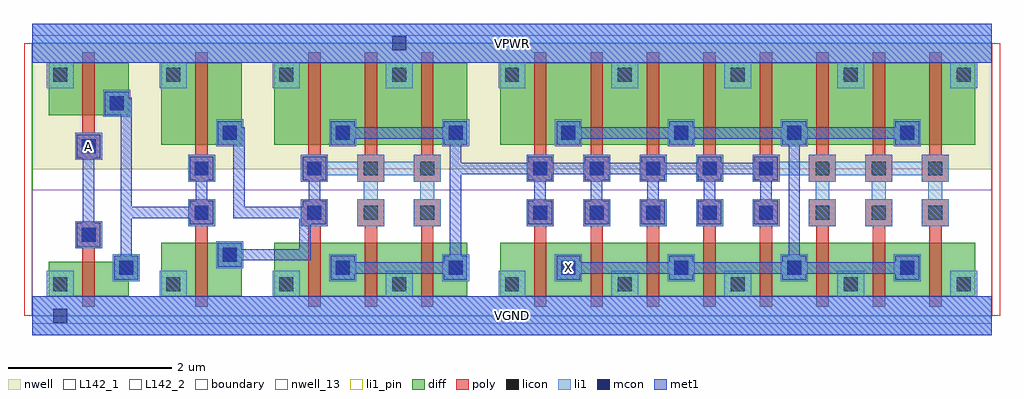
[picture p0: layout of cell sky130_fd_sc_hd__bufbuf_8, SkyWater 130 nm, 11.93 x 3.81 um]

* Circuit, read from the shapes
.subckt sky130_fd_sc_hd__bufbuf_8 A VGND VPWR X
XM1 n1 A VGND VSUBS sky130_fd_pr__nfet_01v8 w=0.42 l=0.15
XM2 n2 n1 VGND VSUBS sky130_fd_pr__nfet_01v8 w=0.65 l=0.15
XM3 n3 n2 VGND VSUBS sky130_fd_pr__nfet_01v8 w=0.65 l=0.15 m=3
XM4 X n3 VGND VSUBS sky130_fd_pr__nfet_01v8 w=0.65 l=0.15 m=8
XM5 n1 A VPWR n4 sky130_fd_pr__pfet_01v8 w=0.64 l=0.15
XM6 n2 n1 VPWR n4 sky130_fd_pr__pfet_01v8 w=1 l=0.15
XM7 n3 n2 VPWR n4 sky130_fd_pr__pfet_01v8 w=1 l=0.15 m=3
XM8 X n3 VPWR n4 sky130_fd_pr__pfet_01v8 w=1 l=0.15 m=8
.ends

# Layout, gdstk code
import gdstk
lib = gdstk.Library(unit=1e-6, precision=1e-09)
def R(c, l, rs):  # rectangles x0, y0, x1, y1
    for r in rs: c.add(gdstk.rectangle(r[:2], r[2:], *l))
def A(c, l, x, y, w, h, nx, ny, dx, dy):  # array of equal rectangles
    R(c, l, [(x+i*dx, y+j*dy, x+i*dx+w, y+j*dy+h) for i in range(nx) for j in range(ny)])
def P(c, l, *ps):  # polygons
    for p in ps: c.add(gdstk.Polygon(p, *l))
nwell_13 = (64, 13)
nwell = (64, 20)
diff = (65, 20)
poly = (66, 20)
licon = (66, 44)
li1_pin = (67, 16)
li1 = (67, 20)
mcon = (67, 44)
met1 = (68, 20)
L142_1 = (142, 1)
L142_2 = (142, 2)
boundary = (235, 4)

sky130_fd_sc_hd__bufbuf_ = lib.new_cell('sky130_fd_sc_hd__bufbuf_8')
R(sky130_fd_sc_hd__bufbuf_, nwell_13, [(0,0,11.73,1.54)])
R(sky130_fd_sc_hd__bufbuf_, nwell, [(0,1.79,11.73,3.33)])
A(sky130_fd_sc_hd__bufbuf_, diff, 6.135, 0.24, 0.69, 0.65, 7, 1, 0.69, 0)
A(sky130_fd_sc_hd__bufbuf_, diff, 6.135, 2.09, 0.69, 1, 7, 1, 0.69, 0)
R(sky130_fd_sc_hd__bufbuf_, diff, [(0.2,0.24,1.18,0.66), (0.2,0.24,0.615,0.66), (1.58,0.24,2.56,0.89), (1.58,0.24,1.995,0.89), (1.995,0.24,2.56,0.89), (2.96,0.24,5.32,0.89), (2.96,0.24,3.375,0.89), (3.375,0.24,4.065,0.89), (4.065,0.24,4.755,0.89), (4.755,0.24,5.32,0.89), (5.72,0.24,11.53,0.89), (5.72,0.24,6.135,0.89), (10.965,0.24,11.53,0.89), (1.58,2.09,2.56,3.09), (1.58,2.09,1.995,3.09), (1.995,2.09,2.56,3.09), (2.96,2.09,5.32,3.09), (2.96,2.09,3.375,3.09), (3.375,2.09,4.065,3.09), (4.065,2.09,4.755,3.09), (4.755,2.09,5.32,3.09), (5.72,2.09,11.53,3.09), (5.72,2.09,6.135,3.09), (10.965,2.09,11.53,3.09), (0.2,2.45,1.18,3.09), (0.2,2.45,0.615,3.09), (0.615,2.45,1.18,3.09)])
P(sky130_fd_sc_hd__bufbuf_, diff, [(0.615,0.24),(0.615,0.66),(1.005,0.66),(1.005,0.73),(1.295,0.73),(1.295,0.44),(1.18,0.44),(1.18,0.24)])
P(sky130_fd_sc_hd__bufbuf_, poly, [(3.375,0.11),(3.375,1.095),(3.285,1.095),(3.285,1.425),(3.615,1.425),(3.615,1.095),(3.525,1.095),(3.525,0.11)],
  [(4.065,0.11),(4.065,1.095),(3.975,1.095),(3.975,1.425),(4.305,1.425),(4.305,1.095),(4.215,1.095),(4.215,0.11)],
  [(4.755,0.11),(4.755,1.095),(4.665,1.095),(4.665,1.425),(4.995,1.425),(4.995,1.095),(4.905,1.095),(4.905,0.11)],
  [(3.285,1.635),(3.285,1.965),(3.375,1.965),(3.375,3.22),(3.525,3.22),(3.525,1.965),(3.615,1.965),(3.615,1.635)],
  [(3.975,1.635),(3.975,1.965),(4.065,1.965),(4.065,3.22),(4.215,3.22),(4.215,1.965),(4.305,1.965),(4.305,1.635)],
  [(4.665,1.635),(4.665,1.965),(4.755,1.965),(4.755,3.22),(4.905,3.22),(4.905,1.965),(4.995,1.965),(4.995,1.635)],
  [(6.135,0.11),(6.135,1.095),(6.045,1.095),(6.045,1.425),(6.375,1.425),(6.375,1.095),(6.285,1.095),(6.285,0.11)],
  [(6.825,0.11),(6.825,1.095),(6.735,1.095),(6.735,1.425),(7.065,1.425),(7.065,1.095),(6.975,1.095),(6.975,0.11)],
  [(7.515,0.11),(7.515,1.095),(7.425,1.095),(7.425,1.425),(7.755,1.425),(7.755,1.095),(7.665,1.095),(7.665,0.11)],
  [(8.205,0.11),(8.205,1.095),(8.115,1.095),(8.115,1.425),(8.445,1.425),(8.445,1.095),(8.355,1.095),(8.355,0.11)],
  [(8.895,0.11),(8.895,1.095),(8.805,1.095),(8.805,1.425),(9.135,1.425),(9.135,1.095),(9.045,1.095),(9.045,0.11)],
  [(9.585,0.11),(9.585,1.095),(9.495,1.095),(9.495,1.425),(9.825,1.425),(9.825,1.095),(9.735,1.095),(9.735,0.11)],
  [(10.275,0.11),(10.275,1.095),(10.185,1.095),(10.185,1.425),(10.515,1.425),(10.515,1.095),(10.425,1.095),(10.425,0.11)],
  [(10.965,0.11),(10.965,1.095),(10.875,1.095),(10.875,1.425),(11.205,1.425),(11.205,1.095),(11.115,1.095),(11.115,0.11)],
  [(6.045,1.635),(6.045,1.965),(6.135,1.965),(6.135,3.22),(6.285,3.22),(6.285,1.965),(6.375,1.965),(6.375,1.635)],
  [(6.735,1.635),(6.735,1.965),(6.825,1.965),(6.825,3.22),(6.975,3.22),(6.975,1.965),(7.065,1.965),(7.065,1.635)],
  [(7.425,1.635),(7.425,1.965),(7.515,1.965),(7.515,3.22),(7.665,3.22),(7.665,1.965),(7.755,1.965),(7.755,1.635)],
  [(8.115,1.635),(8.115,1.965),(8.205,1.965),(8.205,3.22),(8.355,3.22),(8.355,1.965),(8.445,1.965),(8.445,1.635)],
  [(8.805,1.635),(8.805,1.965),(8.895,1.965),(8.895,3.22),(9.045,3.22),(9.045,1.965),(9.135,1.965),(9.135,1.635)],
  [(9.495,1.635),(9.495,1.965),(9.585,1.965),(9.585,3.22),(9.735,3.22),(9.735,1.965),(9.825,1.965),(9.825,1.635)],
  [(10.185,1.635),(10.185,1.965),(10.275,1.965),(10.275,3.22),(10.425,3.22),(10.425,1.965),(10.515,1.965),(10.515,1.635)],
  [(10.875,1.635),(10.875,1.965),(10.965,1.965),(10.965,3.22),(11.115,3.22),(11.115,1.965),(11.205,1.965),(11.205,1.635)],
  [(0.615,0.11),(0.615,0.825),(0.525,0.825),(0.525,1.155),(0.855,1.155),(0.855,0.825),(0.765,0.825),(0.765,0.11)],
  [(0.525,1.905),(0.525,2.235),(0.615,2.235),(0.615,3.22),(0.765,3.22),(0.765,2.235),(0.855,2.235),(0.855,1.905)],
  [(1.995,0.11),(1.995,1.095),(1.905,1.095),(1.905,1.425),(2.235,1.425),(2.235,1.095),(2.145,1.095),(2.145,0.11)],
  [(1.905,1.635),(1.905,1.965),(1.995,1.965),(1.995,3.22),(2.145,3.22),(2.145,1.965),(2.235,1.965),(2.235,1.635)])
A(sky130_fd_sc_hd__bufbuf_, licon, 0.26, 0.3, 0.17, 0.17, 9, 2, 1.38, 2.56)
A(sky130_fd_sc_hd__bufbuf_, licon, 3.71, 0.5, 0.17, 0.17, 6, 1, 1.38, 0)
A(sky130_fd_sc_hd__bufbuf_, licon, 3.365, 1.175, 0.17, 0.17, 3, 2, 0.69, 0.54)
A(sky130_fd_sc_hd__bufbuf_, licon, 6.125, 1.175, 0.17, 0.17, 8, 2, 0.69, 0.54)
A(sky130_fd_sc_hd__bufbuf_, licon, 2.33, 2.15, 0.17, 0.17, 7, 1, 1.38, 0)
R(sky130_fd_sc_hd__bufbuf_, licon, [(1.065,0.5,1.235,0.67), (2.33,0.66,2.5,0.83), (0.605,0.905,0.775,1.075), (1.985,1.175,2.155,1.345), (1.985,1.715,2.155,1.885), (0.605,1.985,0.775,2.155), (0.95,2.51,1.12,2.68)])
R(sky130_fd_sc_hd__bufbuf_, li1_pin, [(0,-0.24,11.73,0.24), (6.39,0.42,6.72,0.75), (0.525,1.905,0.855,2.235), (0,3.09,11.73,3.57)])
A(sky130_fd_sc_hd__bufbuf_, li1, 3.63, 0.42, 0.33, 0.33, 6, 1, 1.38, 0)
A(sky130_fd_sc_hd__bufbuf_, li1, 6.045, 1.095, 0.33, 0.33, 5, 1, 0.69, 0)
A(sky130_fd_sc_hd__bufbuf_, li1, 6.045, 1.635, 0.33, 0.33, 4, 1, 0.69, 0)
A(sky130_fd_sc_hd__bufbuf_, li1, 2.25, 2.07, 0.33, 0.33, 7, 1, 1.38, 0)
R(sky130_fd_sc_hd__bufbuf_, li1, [(0.985,0.42,1.315,0.75), (2.25,0.58,2.58,0.91), (0.525,0.825,0.855,1.155), (1.905,1.095,2.235,1.425), (3.285,1.095,3.615,1.425), (1.905,1.635,2.235,1.965), (0.525,1.905,0.855,2.235), (0.87,2.43,1.2,2.76)])
P(sky130_fd_sc_hd__bufbuf_, li1, [(3.975,1.095),(3.975,1.425),(4.055,1.425),(4.055,1.635),(3.975,1.635),(3.975,1.715),(3.615,1.715),(3.615,1.635),(3.285,1.635),(3.285,1.965),(3.615,1.965),(3.615,1.885),(3.975,1.885),(3.975,1.965),(4.305,1.965),(4.305,1.885),(4.665,1.885),(4.665,1.965),(4.995,1.965),(4.995,1.635),(4.915,1.635),(4.915,1.425),(4.995,1.425),(4.995,1.095),(4.665,1.095),(4.665,1.425),(4.745,1.425),(4.745,1.635),(4.665,1.635),(4.665,1.715),(4.305,1.715),(4.305,1.635),(4.225,1.635),(4.225,1.425),(4.305,1.425),(4.305,1.095)],
  [(0.18,2.78),(0.18,3.09),(0,3.09),(0,3.57),(11.73,3.57),(11.73,3.09),(11.55,3.09),(11.55,2.78),(11.22,2.78),(11.22,3.09),(10.17,3.09),(10.17,2.78),(9.84,2.78),(9.84,3.09),(8.79,3.09),(8.79,2.78),(8.46,2.78),(8.46,3.09),(7.41,3.09),(7.41,2.78),(7.08,2.78),(7.08,3.09),(6.03,3.09),(6.03,2.78),(5.7,2.78),(5.7,3.09),(4.65,3.09),(4.65,2.78),(4.32,2.78),(4.32,3.09),(3.27,3.09),(3.27,2.78),(2.94,2.78),(2.94,3.09),(1.89,3.09),(1.89,2.78),(1.56,2.78),(1.56,3.09),(0.51,3.09),(0.51,2.78)],
  [(9.495,1.095),(9.495,1.425),(9.575,1.425),(9.575,1.635),(9.495,1.635),(9.495,1.715),(9.135,1.715),(9.135,1.635),(8.805,1.635),(8.805,1.965),(9.135,1.965),(9.135,1.885),(9.495,1.885),(9.495,1.965),(9.825,1.965),(9.825,1.885),(10.185,1.885),(10.185,1.965),(10.515,1.965),(10.515,1.885),(10.875,1.885),(10.875,1.965),(11.205,1.965),(11.205,1.635),(11.125,1.635),(11.125,1.425),(11.205,1.425),(11.205,1.095),(10.875,1.095),(10.875,1.425),(10.955,1.425),(10.955,1.635),(10.875,1.635),(10.875,1.715),(10.515,1.715),(10.515,1.635),(10.435,1.635),(10.435,1.425),(10.515,1.425),(10.515,1.095),(10.185,1.095),(10.185,1.425),(10.265,1.425),(10.265,1.635),(10.185,1.635),(10.185,1.715),(9.825,1.715),(9.825,1.635),(9.745,1.635),(9.745,1.425),(9.825,1.425),(9.825,1.095)],
  [(0,-0.24),(0,0.24),(0.18,0.24),(0.18,0.55),(0.51,0.55),(0.51,0.24),(1.56,0.24),(1.56,0.55),(1.89,0.55),(1.89,0.24),(2.94,0.24),(2.94,0.55),(3.27,0.55),(3.27,0.24),(4.32,0.24),(4.32,0.55),(4.65,0.55),(4.65,0.24),(5.7,0.24),(5.7,0.55),(6.03,0.55),(6.03,0.24),(7.08,0.24),(7.08,0.55),(7.41,0.55),(7.41,0.24),(8.46,0.24),(8.46,0.55),(8.79,0.55),(8.79,0.24),(9.84,0.24),(9.84,0.55),(10.17,0.55),(10.17,0.24),(11.22,0.24),(11.22,0.55),(11.55,0.55),(11.55,0.24),(11.73,0.24),(11.73,-0.24)])
A(sky130_fd_sc_hd__bufbuf_, mcon, 3.71, 0.5, 0.17, 0.17, 6, 1, 1.38, 0)
A(sky130_fd_sc_hd__bufbuf_, mcon, 6.125, 1.175, 0.17, 0.17, 5, 2, 0.69, 0.54)
A(sky130_fd_sc_hd__bufbuf_, mcon, 2.33, 2.15, 0.17, 0.17, 7, 1, 1.38, 0)
R(sky130_fd_sc_hd__bufbuf_, mcon, [(0.26,-0.085,0.43,0.085), (1.065,0.5,1.235,0.67), (2.33,0.66,2.5,0.83), (0.605,0.905,0.775,1.075), (1.985,1.175,2.155,1.345), (3.365,1.175,3.535,1.345), (1.985,1.715,2.155,1.885), (3.365,1.715,3.535,1.885), (0.605,1.985,0.775,2.155), (0.95,2.51,1.12,2.68), (4.4,3.245,4.57,3.415)])
R(sky130_fd_sc_hd__bufbuf_, met1, [(0,-0.24,11.73,0.24), (0,3.09,11.73,3.57)])
P(sky130_fd_sc_hd__bufbuf_, met1, [(2.27,0.6),(2.27,0.89),(2.56,0.89),(2.56,0.815),(3.265,0.815),(3.265,1.19),(2.46,1.19),(2.46,2.09),(2.27,2.09),(2.27,2.38),(2.56,2.38),(2.56,2.305),(2.6,2.305),(2.6,1.33),(3.305,1.33),(3.305,1.405),(3.38,1.405),(3.38,1.655),(3.305,1.655),(3.305,1.945),(3.595,1.945),(3.595,1.655),(3.52,1.655),(3.52,1.405),(3.595,1.405),(3.595,1.115),(3.405,1.115),(3.405,0.675),(2.56,0.675),(2.56,0.6)],
  [(3.65,0.44),(3.65,0.73),(3.94,0.73),(3.94,0.655),(5.03,0.655),(5.03,0.73),(5.105,0.73),(5.105,2.09),(5.03,2.09),(5.03,2.165),(3.94,2.165),(3.94,2.09),(3.65,2.09),(3.65,2.38),(3.94,2.38),(3.94,2.305),(5.03,2.305),(5.03,2.38),(5.32,2.38),(5.32,2.09),(5.245,2.09),(5.245,1.87),(6.065,1.87),(6.065,1.945),(6.355,1.945),(6.355,1.87),(6.755,1.87),(6.755,1.945),(7.045,1.945),(7.045,1.87),(7.445,1.87),(7.445,1.945),(7.735,1.945),(7.735,1.87),(8.135,1.87),(8.135,1.945),(8.425,1.945),(8.425,1.87),(8.825,1.87),(8.825,1.945),(9.115,1.945),(9.115,1.655),(9.04,1.655),(9.04,1.405),(9.115,1.405),(9.115,1.115),(8.825,1.115),(8.825,1.405),(8.9,1.405),(8.9,1.655),(8.825,1.655),(8.825,1.73),(8.425,1.73),(8.425,1.655),(8.35,1.655),(8.35,1.405),(8.425,1.405),(8.425,1.115),(8.135,1.115),(8.135,1.405),(8.21,1.405),(8.21,1.655),(8.135,1.655),(8.135,1.73),(7.735,1.73),(7.735,1.655),(7.66,1.655),(7.66,1.405),(7.735,1.405),(7.735,1.115),(7.445,1.115),(7.445,1.405),(7.52,1.405),(7.52,1.655),(7.445,1.655),(7.445,1.73),(7.045,1.73),(7.045,1.655),(6.97,1.655),(6.97,1.405),(7.045,1.405),(7.045,1.115),(6.755,1.115),(6.755,1.405),(6.83,1.405),(6.83,1.655),(6.755,1.655),(6.755,1.73),(6.355,1.73),(6.355,1.655),(6.28,1.655),(6.28,1.405),(6.355,1.405),(6.355,1.115),(6.065,1.115),(6.065,1.405),(6.14,1.405),(6.14,1.655),(6.065,1.655),(6.065,1.73),(5.245,1.73),(5.245,0.73),(5.32,0.73),(5.32,0.44),(5.03,0.44),(5.03,0.515),(3.94,0.515),(3.94,0.44)],
  [(0.545,0.845),(0.545,1.135),(0.62,1.135),(0.62,1.925),(0.545,1.925),(0.545,2.215),(0.835,2.215),(0.835,1.925),(0.76,1.925),(0.76,1.135),(0.835,1.135),(0.835,0.845)],
  [(1.005,0.44),(1.005,0.73),(1.08,0.73),(1.08,2.45),(0.89,2.45),(0.89,2.74),(1.18,2.74),(1.18,2.665),(1.22,2.665),(1.22,1.33),(1.925,1.33),(1.925,1.405),(2,1.405),(2,1.655),(1.925,1.655),(1.925,1.945),(2.215,1.945),(2.215,1.655),(2.14,1.655),(2.14,1.405),(2.215,1.405),(2.215,1.115),(1.925,1.115),(1.925,1.19),(1.22,1.19),(1.22,0.73),(1.295,0.73),(1.295,0.44)],
  [(6.41,0.44),(6.41,0.73),(6.7,0.73),(6.7,0.655),(7.79,0.655),(7.79,0.73),(8.08,0.73),(8.08,0.655),(9.17,0.655),(9.17,0.73),(9.245,0.73),(9.245,2.09),(9.17,2.09),(9.17,2.165),(8.08,2.165),(8.08,2.09),(7.79,2.09),(7.79,2.165),(6.7,2.165),(6.7,2.09),(6.41,2.09),(6.41,2.38),(6.7,2.38),(6.7,2.305),(7.79,2.305),(7.79,2.38),(8.08,2.38),(8.08,2.305),(9.17,2.305),(9.17,2.38),(9.46,2.38),(9.46,2.305),(10.55,2.305),(10.55,2.38),(10.84,2.38),(10.84,2.09),(10.55,2.09),(10.55,2.165),(9.46,2.165),(9.46,2.09),(9.385,2.09),(9.385,0.73),(9.46,0.73),(9.46,0.655),(10.55,0.655),(10.55,0.73),(10.84,0.73),(10.84,0.44),(10.55,0.44),(10.55,0.515),(9.46,0.515),(9.46,0.44),(9.17,0.44),(9.17,0.515),(8.08,0.515),(8.08,0.44),(7.79,0.44),(7.79,0.515),(6.7,0.515),(6.7,0.44)])
R(sky130_fd_sc_hd__bufbuf_, L142_1, [(0,-0.1,11.73,0), (0,3.33,11.73,3.43)])
R(sky130_fd_sc_hd__bufbuf_, L142_2, [(-0.1,0,0,3.33), (11.73,0,11.83,3.33)])
R(sky130_fd_sc_hd__bufbuf_, boundary, [(0,0,11.73,3.33)])
sky130_fd_sc_hd__bufbuf_.add(gdstk.Label('X', (6.555,0.585), layer=67, texttype=5))
sky130_fd_sc_hd__bufbuf_.add(gdstk.Label('A', (0.69,2.07), layer=67, texttype=5))
sky130_fd_sc_hd__bufbuf_.add(gdstk.Label('VGND', (5.865,0), layer=67, texttype=5))
sky130_fd_sc_hd__bufbuf_.add(gdstk.Label('VPWR', (5.865,3.33), layer=67, texttype=5))
sky130_fd_sc_hd__bufbuf_.add(gdstk.Label('VGND', (5.865,0), layer=68, texttype=5))
sky130_fd_sc_hd__bufbuf_.add(gdstk.Label('VPWR', (5.865,3.33), layer=68, texttype=5))

lib.write_gds('sky130_fd_sc_hd__bufbuf_8.gds')
